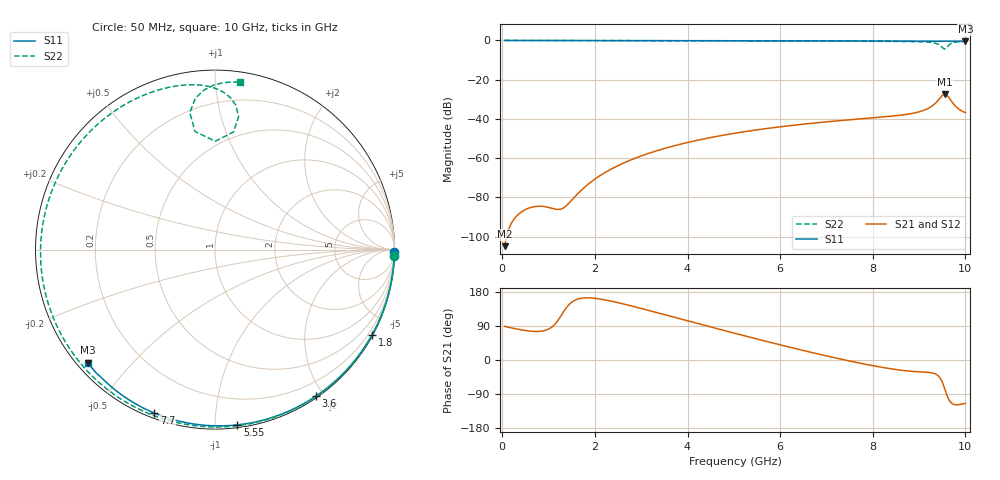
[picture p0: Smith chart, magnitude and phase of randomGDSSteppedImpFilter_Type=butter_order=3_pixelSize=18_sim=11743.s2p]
! freq	dB(S11)	phase(S11)	dB(S12)	phase(S12)
!  dB(S21)	phase(S21)	dB(S22)	phase(S22)
!S-par simulation data
#  GHz  S  DB  R 50
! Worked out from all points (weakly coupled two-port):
!   200 points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, 50 MHz to 10 GHz, reference 50 ohm
!   highest |S21| = -27.29 dB at 9.55 GHz (marker M1); lowest = -104.8 dB at 50 MHz (marker M2)
!   lowest |S11| = -0.5 dB at 10 GHz (marker M3), VSWR 37.75, Z = 1.52 - j19 ohm
!   |S11| at or under -10 dB: nowhere
!   |S22| runs from -4.4 to 0.0 dB; largest |S21 - S12| = 0
!   S11 on the Smith chart (normalised r, x): 50 MHz: open; 1.8 GHz: 0.03, -3.95; 3.6 GHz: 0.02, -1.90; 5.55 GHz: 0.02, -1.14; 7.7 GHz: 0.02, -0.69; 10 GHz: 0.03, -0.38
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0.05  -0.00 -0.8  -104.80 88.8  -104.80 88.8  -0.00 -2.0
0.75  -0.02 -11.9  -84.50 75.3  -84.50 75.3  -0.04 -29.3
1.55  -0.03 -24.5  -80.06 156.6  -80.06 156.6  -0.07 -58.9
1.75  -0.04 -27.6  -75.35 163.6  -75.35 163.6  -0.08 -65.9
1.8  -0.04 -28.4  -74.31 164.0  -74.31 164.0  -0.08 -67.6
2.45  -0.05 -38.3  -64.33 152.7  -64.33 152.7  -0.10 -89.2
3.4  -0.07 -52.5  -55.72 123.1  -55.72 123.1  -0.13 -117.7
3.6  -0.07 -55.4  -54.37 116.6  -54.37 116.6  -0.14 -123.3
4.35  -0.09 -66.2  -50.17 92.0  -50.17 92.0  -0.17 -143.4
5.05  -0.12 -75.9  -47.15 69.5  -47.15 69.5  -0.20 -161.1
5.55  -0.14 -82.7  -45.37 53.8  -45.37 53.8  -0.23 -173.3
6.7  -0.19 -97.8  -42.15 19.4  -42.15 19.4  -0.30 158.9
7.7  -0.25 -110.4  -40.03 -7.8  -40.03 -7.8  -0.38 134.2
8.35  -0.30 -118.4  -38.70 -22.4  -38.70 -22.4  -0.45 117.3
8.9  -0.36 -125.1  -36.93 -30.5  -36.93 -30.5  -0.59 101.6
9.2  -0.39 -128.7  -34.56 -32.7  -34.56 -32.7  -0.87 91.1
9.35  -0.40 -130.5  -32.04 -36.6  -32.04 -36.6  -1.39 84.4
9.45  -0.41 -131.7  -29.42 -46.7  -29.42 -46.7  -2.48 79.9
9.55  -0.41 -132.8  -27.29 -74.6  -27.29 -74.6  -4.38 89.9
9.65  -0.41 -134.1  -29.24 -106.4  -29.24 -106.4  -2.19 100.4
9.8  -0.43 -136.0  -33.81 -118.4  -33.81 -118.4  -0.78 90.8
10  -0.46 -138.4  -36.75 -114.5  -36.75 -114.5  -0.51 81.4
